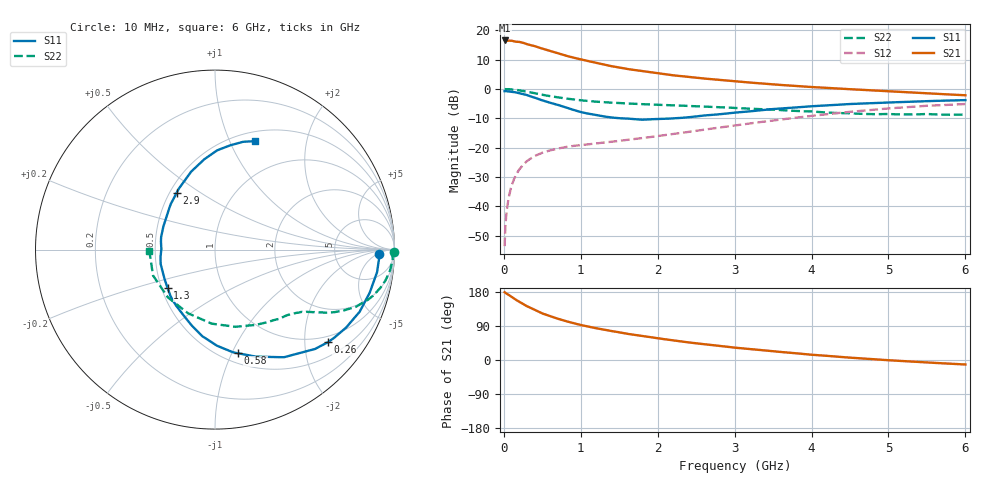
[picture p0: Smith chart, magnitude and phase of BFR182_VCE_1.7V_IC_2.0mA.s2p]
! Infineon Technologies  Discrete & RF Semiconductors
! BFR182
! VCE =  1.7 V,  IC =  2.0 mA
! Common Emitter S-Parameters:  Nov 2015
# GHz  S  MA  R  50
!  f  S11  S21  S12  S22
! GHz  MAG  ANG  MAG  ANG  MAG  ANG  MAG  ANG
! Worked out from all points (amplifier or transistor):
!   210 points, 10 MHz to 6 GHz, reference 50 ohm
!   highest |S21| = 16.5 dB at 10 MHz (marker M1)
!   |S21| within 3 dB of that: start of sweep to 526.8 MHz
!   unconditionally stable (mu >= 1): 1.439 GHz to 3.135 GHz
!   at 185 MHz: K = 0.19, MSG = 22.0 dB, |S12| = -28.1 dB
!   at 1.52 GHz: K = 1.02, MAG = 11.5 dB, |S12| = -17.6 dB
!   at 6 GHz: K = 0.91, MSG = 1.5 dB, |S12| = -5.1 dB
!   S11 on the Smith chart (normalised r, x): 10 MHz: 20, -7; 260 MHz: 0.84, -2.54; 580 MHz: 0.59, -1.05; 1.3 GHz: 0.54, -0.26; 2.9 GHz: 0.54, +0.40; 6 GHz: 0.60, +1.25
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0.01  0.9139 -1.7  6.684 178.9  0.0021 88.1  0.9967 -0.7
0.02  0.9155 -3.1  6.538 177.2  0.0046 90.3  0.9889 -1.4
0.03  0.9135 -4.7  6.569 175.9  0.0067 88.0  0.9898 -2.1
0.075  0.9012 -11.7  6.624 170.2  0.0166 82.4  0.9866 -5.1
0.1  0.8948 -15.6  6.627 166.9  0.0222 80.6  0.9821 -6.8
0.185  0.8563 -28.5  6.329 155.4  0.0395 73.3  0.9518 -12.1
0.26  0.8127 -39.5  6.04 146.4  0.0524 67.9  0.9168 -16.3
0.3  0.7856 -44.8  5.785 142.0  0.0589 65.7  0.8974 -18.1
0.4  0.7124 -57.3  5.358 132.4  0.072 60.1  0.847 -22.1
0.5  0.6383 -69.1  4.857 122.9  0.0818 55.6  0.7955 -25.2
0.58  0.5913 -77.6  4.499 117.3  0.0881 53.2  0.7606 -27.1
0.7  0.5356 -88.8  4.043 109.0  0.0962 50.3  0.7183 -29.3
0.8  0.4874 -98.4  3.691 102.9  0.1023 48.6  0.6875 -30.6
1.02  0.3981 -117.9  3.14 91.5  0.1109 47.2  0.6364 -33.1
1.3  0.3403 -140.8  2.595 80.1  0.1222 47.8  0.5935 -35.8
1.6  0.3135 -164.9  2.186 69.3  0.1347 49.5  0.567 -38.8
2.02  0.3083 165.9  1.832 56.7  0.1587 52.9  0.5359 -44.1
2.9  0.3813 124.2  1.386 35.0  0.2286 54.8  0.4816 -59.7
3.1  0.4042 117.8  1.315 30.8  0.2479 54.1  0.4677 -64.4
4.1  0.515 95.1  1.058 12.5  0.3591 46.7  0.4035 -96.4
5.1  0.5932 80.4  0.899 -1.7  0.4744 33.9  0.3694 -139.1
6  0.6445 69.7  0.78 -11.9  0.553 19.5  0.3663 -179.2
